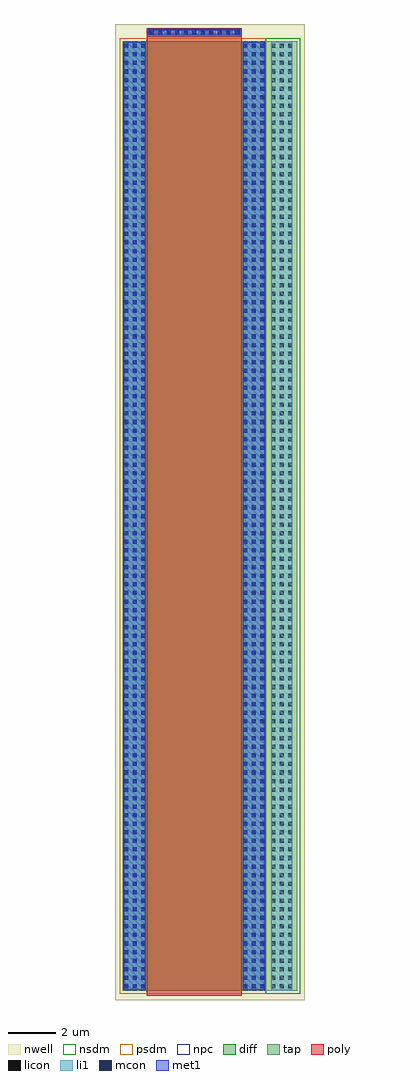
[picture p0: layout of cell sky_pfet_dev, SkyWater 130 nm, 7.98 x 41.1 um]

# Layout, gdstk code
import gdstk
lib = gdstk.Library(unit=1e-6, precision=1e-09)
def R(c, l, rs):  # rectangles x0, y0, x1, y1
    for r in rs: c.add(gdstk.rectangle(r[:2], r[2:], *l))
nwell = (64, 20)
diff = (65, 20)
tap = (65, 44)
poly = (66, 20)
licon = (66, 44)
li1 = (67, 20)
mcon = (67, 44)
met1 = (68, 20)
nsdm = (93, 44)
psdm = (94, 20)
npc = (95, 20)

compass_1d885ab0 = lib.new_cell('compass_1d885ab0')
R(compass_1d885ab0, diff, [(-3.02,-20,3.02,20)])

rectangle_1d885ab0 = lib.new_cell('rectangle_1d885ab0')
rectangle_1d885ab0.add(gdstk.Reference(compass_1d885ab0, (3.02,20)))

compass_13620e5c = lib.new_cell('compass_13620e5c')
R(compass_13620e5c, licon, [(-0.085,-0.085,0.085,0.085)])

rectangle_13620e5c = lib.new_cell('rectangle_13620e5c')
rectangle_13620e5c.add(gdstk.Reference(compass_13620e5c, (0.085,0.085)))

via_generator_b8781a34 = lib.new_cell('via_generator_b8781a34')
r = gdstk.Reference(rectangle_13620e5c, (0.065,0.115)); r.repetition = gdstk.Repetition(3, 111, v1=(0.36,0), v2=(0,0.36)); via_generator_b8781a34.add(r)

compass_f7aa25f5 = lib.new_cell('compass_f7aa25f5')
R(compass_f7aa25f5, li1, [(-0.445,-19.965,0.445,19.965)])

rectangle_f7aa25f5 = lib.new_cell('rectangle_f7aa25f5')
rectangle_f7aa25f5.add(gdstk.Reference(compass_f7aa25f5, (0.445,19.965)))

compass_3c2dbaf2 = lib.new_cell('compass_3c2dbaf2')
R(compass_3c2dbaf2, mcon, [(-0.085,-0.085,0.085,0.085)])

rectangle_3c2dbaf2 = lib.new_cell('rectangle_3c2dbaf2')
rectangle_3c2dbaf2.add(gdstk.Reference(compass_3c2dbaf2, (0.085,0.085)))

via_generator_80185b24 = lib.new_cell('via_generator_80185b24')
r = gdstk.Reference(rectangle_3c2dbaf2, (0.065,0.115)); r.repetition = gdstk.Repetition(3, 111, v1=(0.36,0), v2=(0,0.36)); via_generator_80185b24.add(r)

compass_dc288658 = lib.new_cell('compass_dc288658')
R(compass_dc288658, met1, [(-0.475,-19.945,0.475,19.945)])

rectangle_dc288658 = lib.new_cell('rectangle_dc288658')
rectangle_dc288658.add(gdstk.Reference(compass_dc288658, (0.475,19.945)))

via_stack_c6c22e25 = lib.new_cell('via_stack_c6c22e25')
via_stack_c6c22e25.add(gdstk.Reference(via_generator_b8781a34, (0,0)))
via_stack_c6c22e25.add(gdstk.Reference(rectangle_f7aa25f5, (0.065,0.035)))
via_stack_c6c22e25.add(gdstk.Reference(via_generator_80185b24, (0,0)))
via_stack_c6c22e25.add(gdstk.Reference(rectangle_dc288658, (0.035,0.055)))

compass_e928f485 = lib.new_cell('compass_e928f485')
R(compass_e928f485, poly, [(-2,-20.2,2,20.2)])

rectangle_e928f485 = lib.new_cell('rectangle_e928f485')
rectangle_e928f485.add(gdstk.Reference(compass_e928f485, (2,20.2)))

compass_947f997c = lib.new_cell('compass_947f997c')
R(compass_947f997c, poly, [(-2,-0.165,2,0.165)])

rectangle_947f997c = lib.new_cell('rectangle_947f997c')
rectangle_947f997c.add(gdstk.Reference(compass_947f997c, (2,0.165)))

compass_4a519aad = lib.new_cell('compass_4a519aad')
R(compass_4a519aad, npc, [(-2.01,-0.175,2.01,0.175)])

rectangle_4a519aad = lib.new_cell('rectangle_4a519aad')
rectangle_4a519aad.add(gdstk.Reference(compass_4a519aad, (2.01,0.175)))

via_generator_a4d93da8 = lib.new_cell('via_generator_a4d93da8')
r = gdstk.Reference(rectangle_13620e5c, (0.115,0.08)); r.repetition = gdstk.Repetition(11, 1, v1=(0.36,0), v2=(0,0.36)); via_generator_a4d93da8.add(r)

compass_78a1e2a2 = lib.new_cell('compass_78a1e2a2')
R(compass_78a1e2a2, li1, [(-1.965,-0.085,1.965,0.085)])

rectangle_78a1e2a2 = lib.new_cell('rectangle_78a1e2a2')
rectangle_78a1e2a2.add(gdstk.Reference(compass_78a1e2a2, (1.965,0.085)))

via_generator_94b6575a = lib.new_cell('via_generator_94b6575a')
r = gdstk.Reference(rectangle_3c2dbaf2, (0.115,0.08)); r.repetition = gdstk.Repetition(11, 1, v1=(0.36,0), v2=(0,0.36)); via_generator_94b6575a.add(r)

compass_4b15237d = lib.new_cell('compass_4b15237d')
R(compass_4b15237d, met1, [(-1.945,-0.115,1.945,0.115)])

rectangle_4b15237d = lib.new_cell('rectangle_4b15237d')
rectangle_4b15237d.add(gdstk.Reference(compass_4b15237d, (1.945,0.115)))

via_stack_eaca5c6a = lib.new_cell('via_stack_eaca5c6a')
via_stack_eaca5c6a.add(gdstk.Reference(rectangle_4a519aad, (-0.01,-0.01)))
via_stack_eaca5c6a.add(gdstk.Reference(via_generator_a4d93da8, (0,0)))
via_stack_eaca5c6a.add(gdstk.Reference(rectangle_78a1e2a2, (0.035,0.08)))
via_stack_eaca5c6a.add(gdstk.Reference(via_generator_94b6575a, (0,0)))
via_stack_eaca5c6a.add(gdstk.Reference(rectangle_4b15237d, (0.055,0.05)))

poly_con = lib.new_cell('poly con')
poly_con.add(gdstk.Reference(rectangle_947f997c, (0,0)))
poly_con.add(gdstk.Reference(via_stack_eaca5c6a, (0,0)))

compass_32befaf1 = lib.new_cell('compass_32befaf1')
R(compass_32befaf1, tap, [(-0.663,-20,0.663,20)])

rectangle_32befaf1 = lib.new_cell('rectangle_32befaf1')
rectangle_32befaf1.add(gdstk.Reference(compass_32befaf1, (0.663,20)))

compass_2e714909 = lib.new_cell('compass_2e714909')
R(compass_2e714909, psdm, [(-3.082,-20.125,3.082,20.125)])

rectangle_2e714909 = lib.new_cell('rectangle_2e714909')
rectangle_2e714909.add(gdstk.Reference(compass_2e714909, (3.082,20.125)))

compass_26520bec = lib.new_cell('compass_26520bec')
R(compass_26520bec, nsdm, [(-0.726,-20.125,0.726,20.125)])

rectangle_26520bec = lib.new_cell('rectangle_26520bec')
rectangle_26520bec.add(gdstk.Reference(compass_26520bec, (0.726,20.125)))

via_generator_a2a230dd = lib.new_cell('via_generator_a2a230dd')
r = gdstk.Reference(rectangle_13620e5c, (6.258,0.115)); r.repetition = gdstk.Repetition(3, 111, v1=(0.36,0), v2=(0,0.36)); via_generator_a2a230dd.add(r)

via_stack_21c68db7 = lib.new_cell('via_stack_21c68db7')
via_stack_21c68db7.add(gdstk.Reference(via_generator_a2a230dd, (0,0)))
via_stack_21c68db7.add(gdstk.Reference(rectangle_f7aa25f5, (6.258,0.035)))

dev_temp = lib.new_cell('dev_temp')
dev_temp.add(gdstk.Reference(rectangle_1d885ab0, (0,0)))
r = gdstk.Reference(via_stack_c6c22e25, (0,0)); r.repetition = gdstk.Repetition(2, 1, v1=(5.02,0), v2=(0,1)); dev_temp.add(r)
dev_temp.add(gdstk.Reference(rectangle_e928f485, (1.02,-0.2)))
r = gdstk.Reference(poly_con, (1.02,40.2)); r.repetition = gdstk.Repetition(1, 1, v1=(1,0), v2=(0,40.73)); dev_temp.add(r)
dev_temp.add(gdstk.Reference(rectangle_32befaf1, (6.04,0)))
dev_temp.add(gdstk.Reference(rectangle_2e714909, (-0.125,-0.125)))
dev_temp.add(gdstk.Reference(rectangle_26520bec, (6.04,-0.125)))
dev_temp.add(gdstk.Reference(via_stack_21c68db7, (0,0)))

compass_a03f0598 = lib.new_cell('compass_a03f0598')
R(compass_a03f0598, nwell, [(-3.988,-20.55,3.988,20.55)])

rectangle_a03f0598 = lib.new_cell('rectangle_a03f0598')
rectangle_a03f0598.add(gdstk.Reference(compass_a03f0598, (3.988,20.55)))

sky_pfet_dev = lib.new_cell('sky_pfet_dev')
sky_pfet_dev.add(gdstk.Reference(dev_temp, (0,0)))
sky_pfet_dev.add(gdstk.Reference(rectangle_a03f0598, (-0.305,-0.38)))

lib.write_gds('sky_pfet_dev.gds')
